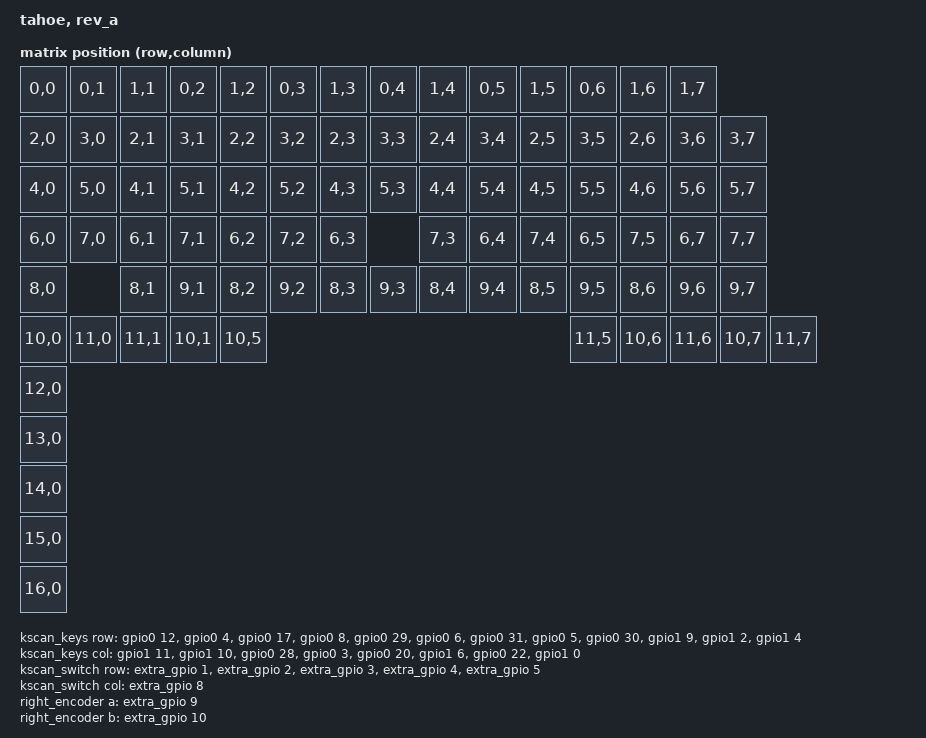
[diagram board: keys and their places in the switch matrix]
/*
 * Copyright (c) 2020 The ZMK Contributors
 *
 * SPDX-License-Identifier: MIT
 */

/dts-v1/;
/*
 * this include needs to be first (or at least early) because it defines an RC()
 * macro that overrides the RC macro we use for defining our matrix transform.
 * so we need to include this first to reference CAPS below, and then override
 * its RC with a later include.
 */
#include <dt-bindings/zmk/keys.h>

#include <nordic/nrf52840_qiaa.dtsi>
#include <dt-bindings/zmk/matrix_transform.h>
#include <dt-bindings/zmk/outputs.h>
#include <dt-bindings/zmk/bt.h>
#include <dt-bindings/led/led.h>
#include <dt-bindings/zmk/rgb.h>


/ {
    model = "tahoe, rev_a";
    compatible = "tahoe,rev_a";

    chosen {
            zephyr,code-partition = &code_partition;
            zephyr,sram = &sram0;
            zephyr,flash = &flash0;
            zmk,battery = &fuelgauge;
            zmk,kscan = &kscan;
            zmk,matrix_transform = &default_transform;
            zmk,underglow = &led_strip;
            /* zephyr,console = &cdc_acm_uart; */
    };

    macros {
        bt_select_1: bt_select_1 {
            label = "BT_SELECT_1";
            compatible = "zmk,behavior-macro";
            #binding-cells = <0>;
            bindings
                = <&out OUT_BLE>       // Switch to Bluetooth output
                , <&bt BT_SEL 0>       // Select profile 0 (first profile)
                ;
        };

        bt_select_2: bt_select_2 {
            label = "BT_SELECT_2";
            compatible = "zmk,behavior-macro";
            #binding-cells = <0>;
            bindings
                = <&out OUT_BLE>       // Switch to Bluetooth output
                , <&bt BT_SEL 1>       // Select profile 1 (second profile)
                ;
        };

        bt_select_3: bt_select_3 {
            label = "BT_SELECT_3";
            compatible = "zmk,behavior-macro";
            #binding-cells = <0>;
            bindings
                = <&out OUT_BLE>       // Switch to Bluetooth output
                , <&bt BT_SEL 2>       // Select profile 2 (third profile)
                ;
        };

        caps_with_led: caps_with_led {
            label = "CAPS_WITH_LED";
            compatible = "zmk,behavior-macro";
            #binding-cells = <0>;
            // this is a bit wrong, because it just toggles caps lock & the LED
            // together. for example, if you connect to a laptop that already
            // has caps lock on and the LED is currently off, then hitting the
            // caps lock key will turn off caps lock but turn on the LED. but,
            // it's a quick way to get something basic working that'll handle
            // most cases just fine.
            bindings
                = <&kp CAPS>
                , <&rgb_ug RGB_COLOR_HSB(128,100,100)>
                , <&rgb_ug RGB_TOG>;
        };
    };

    // bridges from the kscan below (which contains GPIO coordinates/pins
    // that can emit keypress events) to the keymap in tahoe_a.keymap.
    default_transform: matrix_transform {
            compatible = "zmk,matrix-transform";
            rows = <11>;
            columns = <16>;

            map = <
                    RC(0,0)  RC(0,1)  RC(1,1)  RC(0,2)  RC(1,2)  RC(0,3)  RC(1,3)  RC(0,4)  RC(1,4)  RC(0,5)  RC(1,5)  RC(0,6)  RC(1,6)           RC(1,7)
                    RC(2,0)  RC(3,0)  RC(2,1)  RC(3,1)  RC(2,2)  RC(3,2)  RC(2,3)  RC(3,3)  RC(2,4)  RC(3,4)  RC(2,5)  RC(3,5)  RC(2,6)  RC(3,6)           RC(3,7)
                    RC(4,0)  RC(5,0)  RC(4,1)  RC(5,1)  RC(4,2)  RC(5,2)  RC(4,3)  RC(5,3)  RC(4,4)  RC(5,4)  RC(4,5)  RC(5,5)  RC(4,6)  RC(5,6)           RC(5,7)
                    RC(6,0)  RC(7,0)  RC(6,1)  RC(7,1)  RC(6,2)  RC(7,2)  RC(6,3)  RC(7,3)  RC(6,4)  RC(7,4)  RC(6,5)  RC(7,5)                    RC(6,7)  RC(7,7)
                    RC(8,0)           RC(8,1)  RC(9,1)  RC(8,2)  RC(9,2)  RC(8,3)  RC(9,3)  RC(8,4)  RC(9,4)  RC(8,5)  RC(9,5)  RC(8,6)  RC(9,6)           RC(9,7)
                    RC(10,0) RC(11,0) RC(11,1) RC(10,1)                                                       RC(10,5) RC(11,5) RC(10,6) RC(11,6) RC(10,7) RC(11,7)
                    RC(12,0)
                    RC(13,0)
                    RC(14,0)
                    RC(15,0)
                    RC(16,0)
            >;


    };


    kscan: kscan {
        compatible = "zmk,kscan-composite";
        rows = <17>;
        columns = <8>;
        keys {
            kscan = <&kscan_keys>;
        };
        switch {
            row-offset = <12>;
            kscan = <&kscan_switch>;
        };
    };

    // determines which GPIO pins to scan for key press events
    kscan_keys: kscan_keys {
            compatible = "zmk,kscan-gpio-matrix";
            diode-direction = "row2col";
            // 12 rows
            row-gpios
                    = <&gpio0 12 GPIO_ACTIVE_HIGH>
                    , <&gpio0 4 GPIO_ACTIVE_HIGH>
                    , <&gpio0 17 GPIO_ACTIVE_HIGH>
                    , <&gpio0 8 GPIO_ACTIVE_HIGH>
                    , <&gpio0 29 GPIO_ACTIVE_HIGH>
                    , <&gpio0 6 GPIO_ACTIVE_HIGH>
                    , <&gpio0 31 GPIO_ACTIVE_HIGH>
                    , <&gpio0 5 GPIO_ACTIVE_HIGH>
                    , <&gpio0 30 GPIO_ACTIVE_HIGH>
                    , <&gpio1 9 GPIO_ACTIVE_HIGH>
                    , <&gpio1 2 GPIO_ACTIVE_HIGH>
                    , <&gpio1 4 GPIO_ACTIVE_HIGH>
                    ;
            // 8 columns
            col-gpios
                    = <&gpio1 11 (GPIO_ACTIVE_HIGH | GPIO_PULL_DOWN)>
                    , <&gpio1 10 (GPIO_ACTIVE_HIGH | GPIO_PULL_DOWN)>
                    , <&gpio0 28 (GPIO_ACTIVE_HIGH | GPIO_PULL_DOWN)>
                    , <&gpio0  3 (GPIO_ACTIVE_HIGH | GPIO_PULL_DOWN)>
                    , <&gpio0 20 (GPIO_ACTIVE_HIGH | GPIO_PULL_DOWN)>
                    , <&gpio1  6 (GPIO_ACTIVE_HIGH | GPIO_PULL_DOWN)>
                    , <&gpio0 22 (GPIO_ACTIVE_HIGH | GPIO_PULL_DOWN)>
                    , <&gpio1  0 (GPIO_ACTIVE_HIGH | GPIO_PULL_DOWN)>
                    ;
    };

    kscan_switch: kscan_switch {
        compatible = "zmk,kscan-gpio-matrix";
        diode-direction = "col2row";
        wakeup-source;
        toggle-mode;

        // 5 rows
        row-gpios
                =  <&extra_gpio 1 (GPIO_ACTIVE_LOW | GPIO_PULL_UP)>
                 , <&extra_gpio 2 (GPIO_ACTIVE_LOW | GPIO_PULL_UP)>
                 , <&extra_gpio 3 (GPIO_ACTIVE_LOW | GPIO_PULL_UP)>
                 , <&extra_gpio 4 (GPIO_ACTIVE_LOW | GPIO_PULL_UP)>
                 , <&extra_gpio 5 (GPIO_ACTIVE_LOW | GPIO_PULL_UP)>
                ;
        // 1 column
        col-gpios
                = <&extra_gpio 8 (GPIO_ACTIVE_LOW)>
                ;
    };

    sensors {
        compatible = "zmk,keymap-sensors";
        sensors = <&right_encoder>;
    };

    right_encoder: right_encoder {
        compatible = "alps,ec11";
        status = "okay";
        a-gpios = <&extra_gpio  9 (GPIO_ACTIVE_HIGH | GPIO_PULL_UP)>;
        b-gpios = <&extra_gpio 10 (GPIO_ACTIVE_HIGH | GPIO_PULL_UP)>;
        steps = <20>;
    };
};

&gpio0 {
    status = "okay";
};

&gpio1 {
	status = "okay";
};

&usbd {
    status = "okay";
};

zephyr_udc0: &usbd {
    status = "okay";
};

&pinctrl {
       i2c0_default: i2c0_default {
               group1 {
                       psels = <NRF_PSEL(TWIM_SDA, 0, 24)>,
                               <NRF_PSEL(TWIM_SCL, 0, 13)>;
                       bias-pull-up;
               };
       };

       i2c0_sleep: i2c0_sleep {
               group1 {
                       psels = <NRF_PSEL(TWIM_SDA, 0, 24)>,
                               <NRF_PSEL(TWIM_SCL, 0, 13)>;
                       low-power-enable;
                       bias-pull-up;
               };
       };

       spi1_default: spi1_default {
           group1 {
               psels = <NRF_PSEL(SPIM_MOSI, 0, 26)>;
           };
       };

       spi1_sleep: spi1_sleep {
           group1 {
               psels = <NRF_PSEL(SPIM_MOSI, 0, 26)>;
               low-power-enable;
           };
       };

};

&i2c0 {
    compatible = "nordic,nrf-twim";
    pinctrl-0 = <&i2c0_default>;
    pinctrl-1 = <&i2c0_sleep>;
    pinctrl-names = "default", "sleep";
    clock-frequency = <100000>;
    status = "okay";

    fuelgauge: max17048@36 {
        compatible = "zmk,maxim-max17048";
        reg = <0x36>;
        status = "okay";
    };

    extra_gpio: mcp23017@20 {
        compatible = "microchip,mcp230xx";
        gpio-controller;
        status = "okay";
        reg = <0x20>;
        #gpio-cells = <2>;
        ngpios = <16>;
        int-gpios = <&gpio0 15 (GPIO_ACTIVE_LOW | GPIO_PULL_UP)>;
        gpio-reserved-ranges = <0 1>, <6 2>, <10 5>;

    };
};

&spi3 {
  compatible = "nordic,nrf-spim";
  status = "okay";

  pinctrl-0 = <&spi1_default>;
  pinctrl-1 = <&spi1_sleep>;
  pinctrl-names = "default", "sleep";

  // SK6812MINI-E
  led_strip: ws2812@0 {
    compatible = "worldsemi,ws2812-spi";
    label = "WS2812";

    /* SPI */
    reg = <0>; /* ignored, but necessary for SPI bindings */
    spi-max-frequency = <4000000>;

    chain-length = <1>; /* number of LEDs */
    spi-one-frame = <0x70>;
    spi-zero-frame = <0x40>;
    color-mapping = <LED_COLOR_ID_GREEN
                     LED_COLOR_ID_RED
                     LED_COLOR_ID_BLUE>;
  };
};

&flash0 {
	/*
	 * For more information, see:
	 * http://docs.zephyrproject.org/latest/devices/dts/flash_partitions.html
	 */
	partitions {
		compatible = "fixed-partitions";
		#address-cells = <1>;
		#size-cells = <1>;

		sd_partition: partition@0 {
			label = "softdevice";
			reg = <0x00000000 0x00026000>;
		};
		code_partition: partition@26000 {
			label = "code_partition";
			reg = <0x00026000 0x000c6000>;
		};

		/*
		 * The flash starting at 0x000ec000 and ending at
		 * 0x000f3fff is reserved for use by the application.
		 */

		/*
		 * Storage partition will be used by FCB/LittleFS/NVS
		 * if enabled.
		 */
		storage_partition: partition@ec000 {
			label = "storage";
			reg = <0x000ec000 0x00008000>;
		};

		boot_partition: partition@f4000 {
			label = "adafruit_boot";
			reg = <0x000f4000 0x0000c000>;
		};
	};
};
